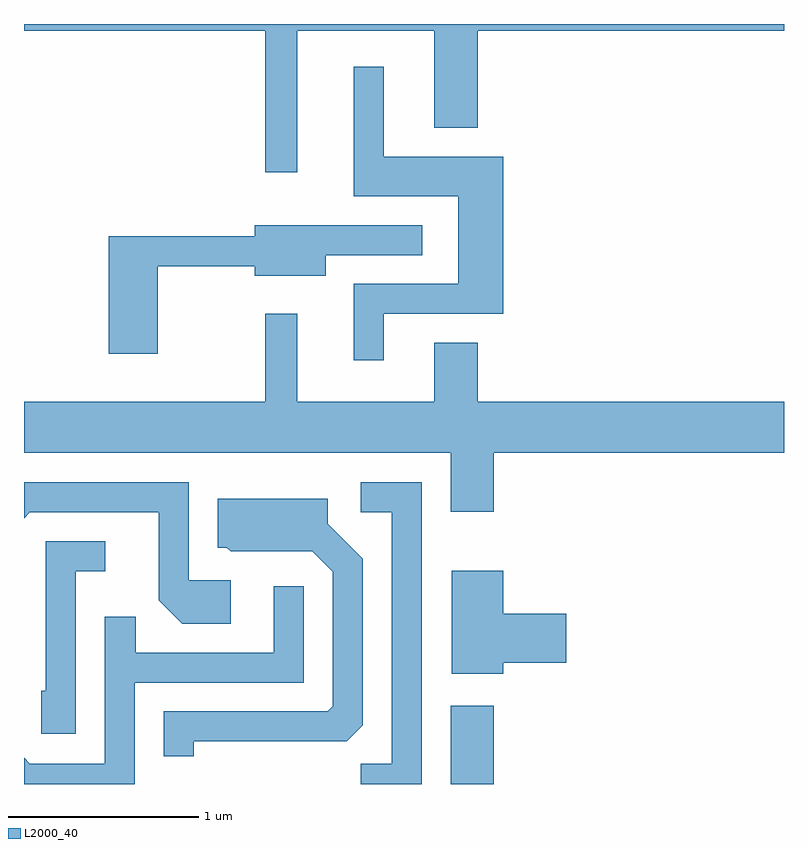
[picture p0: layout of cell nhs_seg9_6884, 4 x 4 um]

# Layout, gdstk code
import gdstk
lib = gdstk.Library(unit=1e-6, precision=1e-09)
def R(c, l, rs):  # rectangles x0, y0, x1, y1
    for r in rs: c.add(gdstk.rectangle(r[:2], r[2:], *l))
def P(c, l, *ps):  # polygons
    for p in ps: c.add(gdstk.Polygon(p, *l))
L2000_40 = (2000, 40)

nhs_seg9_6884 = lib.new_cell('nhs_seg9_6884')
R(nhs_seg9_6884, L2000_40, [(389.856,2074.432,390.084,2074.844)])
P(nhs_seg9_6884, L2000_40, [(389.049,2078.396),(389.771,2078.396),(389.771,2077.886),(389.999,2077.886),(389.999,2078.396),(391.611,2078.396),(391.611,2078.432),(387.611,2078.432),(387.611,2078.396),(388.881,2078.396),(388.881,2077.653),(389.049,2077.653)],
  [(389.504,2076.906),(390.134,2076.906),(390.134,2077.734),(389.504,2077.734),(389.504,2078.208),(389.346,2078.208),(389.346,2077.526),(389.896,2077.526),(389.896,2077.064),(389.346,2077.064),(389.346,2076.663),(389.504,2076.663)],
  [(388.314,2077.156),(388.826,2077.156),(388.826,2077.106),(389.199,2077.106),(389.199,2077.216),(389.708,2077.216),(389.708,2077.374),(388.826,2077.374),(388.826,2077.314),(388.056,2077.314),(388.056,2076.696),(388.314,2076.696)],
  [(389.771,2076.754),(389.771,2076.444),(389.049,2076.444),(389.049,2076.908),(388.881,2076.908),(388.881,2076.444),(387.611,2076.444),(387.611,2076.176),(389.856,2076.176),(389.856,2075.866),(390.084,2075.866),(390.084,2076.176),(391.611,2076.176),(391.611,2076.444),(389.999,2076.444),(389.999,2076.754)],
  [(388.699,2075.504),(388.479,2075.504),(388.479,2076.019),(387.611,2076.019),(387.611,2075.83),(387.642,2075.861),(388.321,2075.861),(388.321,2075.399),(388.444,2075.276),(388.699,2075.276)],
  [(389.704,2076.019),(389.383,2076.019),(389.383,2075.861),(389.546,2075.861),(389.546,2074.539),(389.383,2074.539),(389.383,2074.432),(389.704,2074.432)],
  [(388.504,2074.656),(389.309,2074.656),(389.394,2074.742),(389.394,2075.617),(389.209,2075.802),(389.209,2075.934),(388.631,2075.934),(388.631,2075.676),(388.679,2075.676),(388.699,2075.656),(389.129,2075.656),(389.236,2075.548),(389.236,2074.842),(389.209,2074.814),(388.346,2074.814),(388.346,2074.577),(388.504,2074.577)],
  [(387.884,2075.551),(388.038,2075.551),(388.038,2075.709),(387.726,2075.709),(387.726,2074.924),(387.701,2074.924),(387.701,2074.696),(387.884,2074.696)],
  [(390.134,2075.071),(390.464,2075.071),(390.464,2075.329),(390.134,2075.329),(390.134,2075.554),(389.861,2075.554),(389.861,2075.011),(390.134,2075.011)],
  [(388.194,2074.966),(389.084,2074.966),(389.084,2075.472),(388.926,2075.472),(388.926,2075.124),(388.199,2075.124),(388.199,2075.313),(388.036,2075.313),(388.036,2074.539),(387.642,2074.539),(387.611,2074.57),(387.611,2074.432),(388.194,2074.432)])

lib.write_gds('nhs_seg9_6884.gds')
